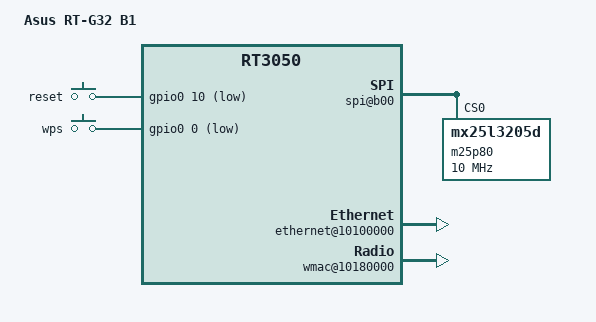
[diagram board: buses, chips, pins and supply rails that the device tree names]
/dts-v1/;

/include/ "rt3050.dtsi"

/ {
	#address-cells = <1>;
	#size-cells = <1>;
	compatible = "RT-G32-B1", "ralink,rt3050-soc";
	model = "Asus RT-G32 B1";

	memorydetect {
		ralink,memory = <0x0 0x200000 0x4000000>;
	};

	chosen {
		bootargs = "mtdparts=spi0.0:192k(u-boot)ro,64k(devdata)ro,64k(devconf)ro,3776k@0x50000(firmware)";
	};

	palmbus@10000000 {
		sysc@0 {
			ralink,pinmmux = "i2c", "spi", "uartlite", "jtag", "mdio", "sdram", "rgmii";
			ralink,uartmux = "gpio";
			ralink,wdtmux = <1>;
		};

		gpio0: gpio@600 {
			status = "okay";
		};

		spi@b00 {
			status = "okay";
			m25p80@0 {
				#address-cells = <1>;
				#size-cells = <1>;
				compatible = "mx25l3205d";
				reg = <0 0>;
				linux,modalias = "m25p80", "mx25l3205d";
				spi-max-frequency = <10000000>;
			};
		};
	};

	ethernet@10100000 {
		status = "okay";
	};

	esw@10110000 {
		status = "okay";
		ralink,portmap = <0x2f>;
	};

	gpio-keys-polled {
		compatible = "gpio-keys-polled";
		#address-cells = <1>;
		#size-cells = <0>;
		poll-interval = <20>;
		reset {
			label = "reset";
			gpios = <&gpio0 10 1>;
			linux,code = <0x198>;
		};
		wps {
			label = "wps";
			gpios = <&gpio0 0 1>;
			linux,code = <0x211>;
		};
	};

	wmac@10180000 {
		status = "okay";
	};
};
